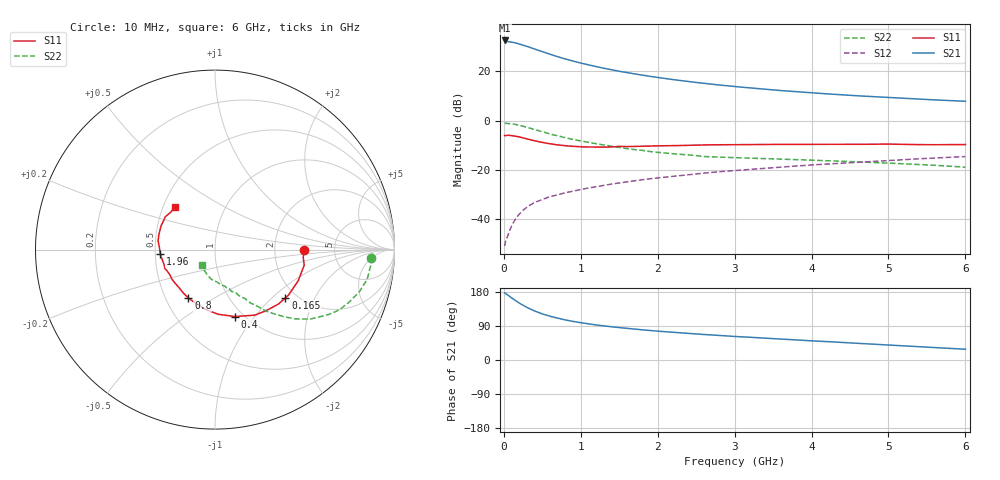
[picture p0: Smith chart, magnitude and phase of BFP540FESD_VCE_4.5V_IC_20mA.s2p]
! Infineon Technologies  Discrete & RF Semiconductors
! BFP540FESD
! VCE =  4.5 V,  IC =  20 mA
! Common Emitter S-Parameters:  Nov 2015
# GHz  S  MA  R  50
!  f  S11  S21  S12  S22
! GHz  MAG  ANG  MAG  ANG  MAG  ANG  MAG  ANG
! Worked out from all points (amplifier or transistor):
!   210 points, 10 MHz to 6 GHz, reference 50 ohm
!   highest |S21| = 32.5 dB at 10 MHz (marker M1)
!   |S21| within 3 dB of that: start of sweep to 355.4 MHz
!   unconditionally stable (mu >= 1): start of sweep to 30.74 MHz; 1.742 GHz to end of sweep
!   at 185 MHz: K = 0.50, MSG = 35.0 dB, |S12| = -38.6 dB
!   at 1.52 GHz: K = 0.96, MSG = 22.6 dB, |S12| = -25.3 dB
!   at 6 GHz: K = 1.18, MAG = 8.7 dB, |S12| = -14.6 dB
!   S11 on the Smith chart (normalised r, x): 10 MHz: 2.97, -0.01; 165 MHz: 1.75, -1.22; 400 MHz: 0.91, -0.80; 800 MHz: 0.65, -0.39; 1.96 GHz: 0.53, -0.03; 6 GHz: 0.58, +0.30
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0.01  0.4963 -0.2  42.4 176.8  0.0028 17.8  0.8701 -3.1
0.02  0.4934 -5.1  40.84 175.9  0.0034 24.7  0.8796 -1.6
0.05  0.5046 -9.9  40.44 171.5  0.0045 42.4  0.8739 -5.2
0.1  0.4951 -20.5  39.29 164.0  0.0072 61.9  0.8637 -11.2
0.165  0.4758 -34.4  37.36 155.0  0.0106 62.6  0.8257 -18.0
0.2  0.4659 -40.6  36.06 150.2  0.0125 63.2  0.8017 -21.5
0.3  0.4273 -58.7  32.25 138.7  0.0174 63.7  0.7297 -29.7
0.4  0.3893 -73.4  28.4 129.2  0.0217 62.7  0.6571 -36.1
0.5  0.3608 -87.2  25.12 121.5  0.0248 61.1  0.5883 -41.0
0.6  0.3378 -98.7  22.16 115.3  0.0285 61.0  0.5326 -44.4
0.7  0.3202 -108.1  19.82 110.2  0.0309 61.6  0.4876 -47.3
0.8  0.308 -118.7  17.81 105.6  0.0341 61.0  0.4454 -50.3
1.02  0.2912 -134.3  14.46 97.8  0.0402 60.8  0.3795 -54.3
1.2  0.2914 -146.0  12.43 92.5  0.045 60.9  0.3376 -57.6
1.4  0.2906 -155.3  10.76 87.6  0.0511 60.9  0.2996 -61.4
1.96  0.3049 -175.0  7.664 76.8  0.0671 59.4  0.2289 -71.4
2.02  0.3063 -177.0  7.429 75.8  0.0686 59.1  0.2242 -72.8
2.6  0.3212 171.1  5.698 67.3  0.0853 57.0  0.1859 -84.3
3.1  0.3238 163.7  4.754 61.1  0.0991 54.7  0.1745 -91.2
4.1  0.328 154.5  3.57 49.6  0.1279 49.6  0.1546 -103.1
5.1  0.3297 145.3  2.884 38.4  0.1579 42.5  0.1344 -114.4
6  0.325 133.6  2.464 28.4  0.1852 35.6  0.1127 -130.1
